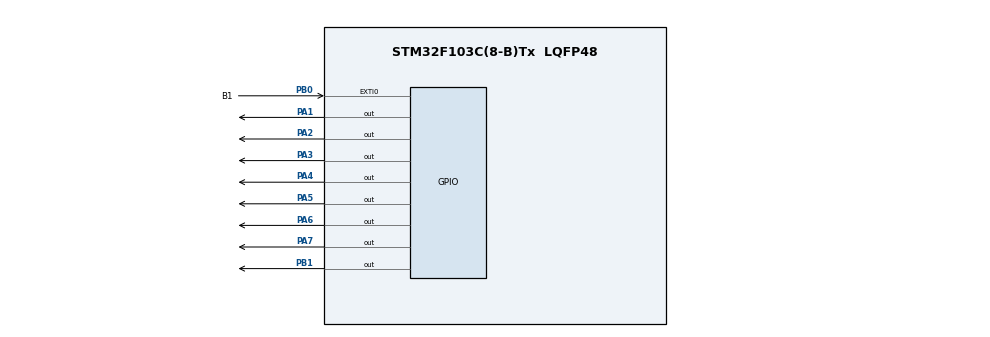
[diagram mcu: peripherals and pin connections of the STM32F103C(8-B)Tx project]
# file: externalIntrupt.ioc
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Mcu.Family=STM32F1
Mcu.Name=STM32F103C(8-B)Tx
Mcu.Package=LQFP48
NVIC.EXTI0_IRQn=true\:0\:0\:false\:false\:true\:true\:true\:true
NVIC.PriorityGroup=NVIC_PRIORITYGROUP_4
PA1.Signal=GPIO_Output
PA2.Signal=GPIO_Output
PA3.Signal=GPIO_Output
PA4.Signal=GPIO_Output
PA5.Signal=GPIO_Output
PA6.Signal=GPIO_Output
PA7.Signal=GPIO_Output
PB0.GPIO_Label=B1
PB0.GPIO_PuPd=GPIO_NOPULL
PB0.Signal=GPXTI0
PB1.Signal=GPIO_Output
ProjectManager.HeapSize=0x200
ProjectManager.StackSize=0x400
ProjectManager.TargetToolchain=STM32CubeIDE
RCC.APB1Freq_Value=8000000
RCC.APB2Freq_Value=8000000
board=custom

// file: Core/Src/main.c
/* USER CODE BEGIN Header */
/**
 ******************************************************************************
 * @file           : main.c
 * @brief          : Main program body
 ******************************************************************************
 * @attention
 *
 * Copyright (c) 2024 STMicroelectronics.
 * All rights reserved.
 *
 * This software is licensed under terms that can be found in the LICENSE file
 * in the root directory of this software component.
 * If no LICENSE file comes with this software, it is provided AS-IS.
 *
 ******************************************************************************
 */
/* USER CODE END Header */
#include "main.h"

/* USER CODE BEGIN PV */
uint8_t c = 1;
void HAL_GPIO_EXTI_Callback(uint16_t GPIO_Pin) {
	c++;
	if (c > 9)
		c = 1;

}

/* USER CODE END PV */

void SystemClock_Config(void);
static void MX_GPIO_Init(void);

int main(void) {

	/* MCU Configuration--------------------------------------------------------*/

	/* Reset of all peripherals, Initializes the Flash interface and the Systick. */
	HAL_Init();

	/* Configure the system clock */
	SystemClock_Config();

	/* Initialize all configured peripherals */
	MX_GPIO_Init();

	/* Infinite loop */
	/* USER CODE BEGIN WHILE */
	while (1) {
		switch (c) {
		case 1:
			MX_GPIO_Init();
			HAL_GPIO_WritePin(GPIOA, GPIO_PIN_2, 1);
			HAL_GPIO_WritePin(GPIOA, GPIO_PIN_3, 1);
			break;
		case 2:
			MX_GPIO_Init();
			HAL_GPIO_WritePin(GPIOA, GPIO_PIN_1, 1);
			HAL_GPIO_WritePin(GPIOA, GPIO_PIN_2, 1);
			HAL_GPIO_WritePin(GPIOA, GPIO_PIN_7, 1);
			HAL_GPIO_WritePin(GPIOA, GPIO_PIN_5, 1);
			HAL_GPIO_WritePin(GPIOA, GPIO_PIN_4, 1);
			break;
		case 3:
			MX_GPIO_Init();
			HAL_GPIO_WritePin(GPIOA, GPIO_PIN_1, 1);
			HAL_GPIO_WritePin(GPIOA, GPIO_PIN_2, 1);
			HAL_GPIO_WritePin(GPIOA, GPIO_PIN_7, 1);
			HAL_GPIO_WritePin(GPIOA, GPIO_PIN_3, 1);
			HAL_GPIO_WritePin(GPIOA, GPIO_PIN_4, 1);
			break;
		case 4:
			MX_GPIO_Init();
			HAL_GPIO_WritePin(GPIOA, GPIO_PIN_6, 1);
			HAL_GPIO_WritePin(GPIOA, GPIO_PIN_7, 1);
			HAL_GPIO_WritePin(GPIOA, GPIO_PIN_2, 1);
			HAL_GPIO_WritePin(GPIOA, GPIO_PIN_3, 1);
			break;
		case 5:
			MX_GPIO_Init();
			HAL_GPIO_WritePin(GPIOA, GPIO_PIN_1, 1);
			HAL_GPIO_WritePin(GPIOA, GPIO_PIN_6, 1);
			HAL_GPIO_WritePin(GPIOA, GPIO_PIN_7, 1);
			HAL_GPIO_WritePin(GPIOA, GPIO_PIN_3, 1);
			HAL_GPIO_WritePin(GPIOA, GPIO_PIN_4, 1);
			break;
		case 6:
			MX_GPIO_Init();
			HAL_GPIO_WritePin(GPIOA, GPIO_PIN_1, 1);
			HAL_GPIO_WritePin(GPIOA, GPIO_PIN_6, 1);
			HAL_GPIO_WritePin(GPIOA, GPIO_PIN_7, 1);
			HAL_GPIO_WritePin(GPIOA, GPIO_PIN_5, 1);
			HAL_GPIO_WritePin(GPIOA, GPIO_PIN_4, 1);
			HAL_GPIO_WritePin(GPIOA, GPIO_PIN_3, 1);
			break;
		case 7:
			MX_GPIO_Init();
			HAL_GPIO_WritePin(GPIOA, GPIO_PIN_1, 1);
			HAL_GPIO_WritePin(GPIOA, GPIO_PIN_2, 1);
			HAL_GPIO_WritePin(GPIOA, GPIO_PIN_3, 1);
			break;
		case 8:
			MX_GPIO_Init();
			HAL_GPIO_WritePin(GPIOA, GPIO_PIN_1, 1);
			HAL_GPIO_WritePin(GPIOA, GPIO_PIN_2, 1);
			HAL_GPIO_WritePin(GPIOA, GPIO_PIN_3, 1);
			HAL_GPIO_WritePin(GPIOA, GPIO_PIN_4, 1);
			HAL_GPIO_WritePin(GPIOA, GPIO_PIN_5, 1);
			HAL_GPIO_WritePin(GPIOA, GPIO_PIN_6, 1);
			HAL_GPIO_WritePin(GPIOA, GPIO_PIN_7, 1);
			break;
		case 9:
			MX_GPIO_Init();
			HAL_GPIO_WritePin(GPIOA, GPIO_PIN_1, 1);
			HAL_GPIO_WritePin(GPIOA, GPIO_PIN_2, 1);
			HAL_GPIO_WritePin(GPIOA, GPIO_PIN_6, 1);
			HAL_GPIO_WritePin(GPIOA, GPIO_PIN_7, 1);
			HAL_GPIO_WritePin(GPIOA, GPIO_PIN_3, 1);
			HAL_GPIO_WritePin(GPIOA, GPIO_PIN_4, 1);
			break;
		}
		/* USER CODE END WHILE */

	}
}

void SystemClock_Config(void) {
	RCC_OscInitTypeDef RCC_OscInitStruct = { 0 };
	RCC_ClkInitTypeDef RCC_ClkInitStruct = { 0 };

	/** Initializes the RCC Oscillators according to the specified parameters
	 * in the RCC_OscInitTypeDef structure.
	 */
	RCC_OscInitStruct.OscillatorType = RCC_OSCILLATORTYPE_HSI;
	RCC_OscInitStruct.HSIState = RCC_HSI_ON;
	RCC_OscInitStruct.HSICalibrationValue = RCC_HSICALIBRATION_DEFAULT;
	RCC_OscInitStruct.PLL.PLLState = RCC_PLL_NONE;
	if (HAL_RCC_OscConfig(&RCC_OscInitStruct) != HAL_OK) {
		Error_Handler();
	}

	/** Initializes the CPU, AHB and APB buses clocks
	 */
	RCC_ClkInitStruct.ClockType = RCC_CLOCKTYPE_HCLK | RCC_CLOCKTYPE_SYSCLK
			| RCC_CLOCKTYPE_PCLK1 | RCC_CLOCKTYPE_PCLK2;
	RCC_ClkInitStruct.SYSCLKSource = RCC_SYSCLKSOURCE_HSI;
	RCC_ClkInitStruct.AHBCLKDivider = RCC_SYSCLK_DIV1;
	RCC_ClkInitStruct.APB1CLKDivider = RCC_HCLK_DIV1;
	RCC_ClkInitStruct.APB2CLKDivider = RCC_HCLK_DIV1;

	if (HAL_RCC_ClockConfig(&RCC_ClkInitStruct, FLASH_LATENCY_0) != HAL_OK) {
		Error_Handler();
	}
}

static void MX_GPIO_Init(void) {
	GPIO_InitTypeDef GPIO_InitStruct = { 0 };

	/* GPIO Ports Clock Enable */
	__HAL_RCC_GPIOA_CLK_ENABLE();
	__HAL_RCC_GPIOB_CLK_ENABLE();

	/*Configure GPIO pin Output Level */
	HAL_GPIO_WritePin(GPIOA,
			GPIO_PIN_1 | GPIO_PIN_2 | GPIO_PIN_3 | GPIO_PIN_4 | GPIO_PIN_5
					| GPIO_PIN_6 | GPIO_PIN_7, GPIO_PIN_RESET);

	/*Configure GPIO pin Output Level */
	HAL_GPIO_WritePin(GPIOB, GPIO_PIN_1, GPIO_PIN_RESET);

	/*Configure GPIO pins : PA1 PA2 PA3 PA4
	 PA5 PA6 PA7 */
	GPIO_InitStruct.Pin = GPIO_PIN_1 | GPIO_PIN_2 | GPIO_PIN_3 | GPIO_PIN_4
			| GPIO_PIN_5 | GPIO_PIN_6 | GPIO_PIN_7;
	GPIO_InitStruct.Mode = GPIO_MODE_OUTPUT_PP;
	GPIO_InitStruct.Pull = GPIO_NOPULL;
	GPIO_InitStruct.Speed = GPIO_SPEED_FREQ_LOW;
	HAL_GPIO_Init(GPIOA, &GPIO_InitStruct);

	/*Configure GPIO pin : B1_Pin */
	GPIO_InitStruct.Pin = B1_Pin;
	GPIO_InitStruct.Mode = GPIO_MODE_IT_RISING;
	GPIO_InitStruct.Pull = GPIO_PULLDOWN;
	HAL_GPIO_Init(B1_GPIO_Port, &GPIO_InitStruct);

	/*Configure GPIO pin : PB1 */
	GPIO_InitStruct.Pin = GPIO_PIN_1;
	GPIO_InitStruct.Mode = GPIO_MODE_OUTPUT_PP;
	GPIO_InitStruct.Pull = GPIO_NOPULL;
	GPIO_InitStruct.Speed = GPIO_SPEED_FREQ_LOW;
	HAL_GPIO_Init(GPIOB, &GPIO_InitStruct);

	/* EXTI interrupt init*/
	HAL_NVIC_SetPriority(EXTI0_IRQn, 0, 0);
	HAL_NVIC_EnableIRQ(EXTI0_IRQn);

}

void Error_Handler(void) {
	__disable_irq();
	while (1) {
	}
}
